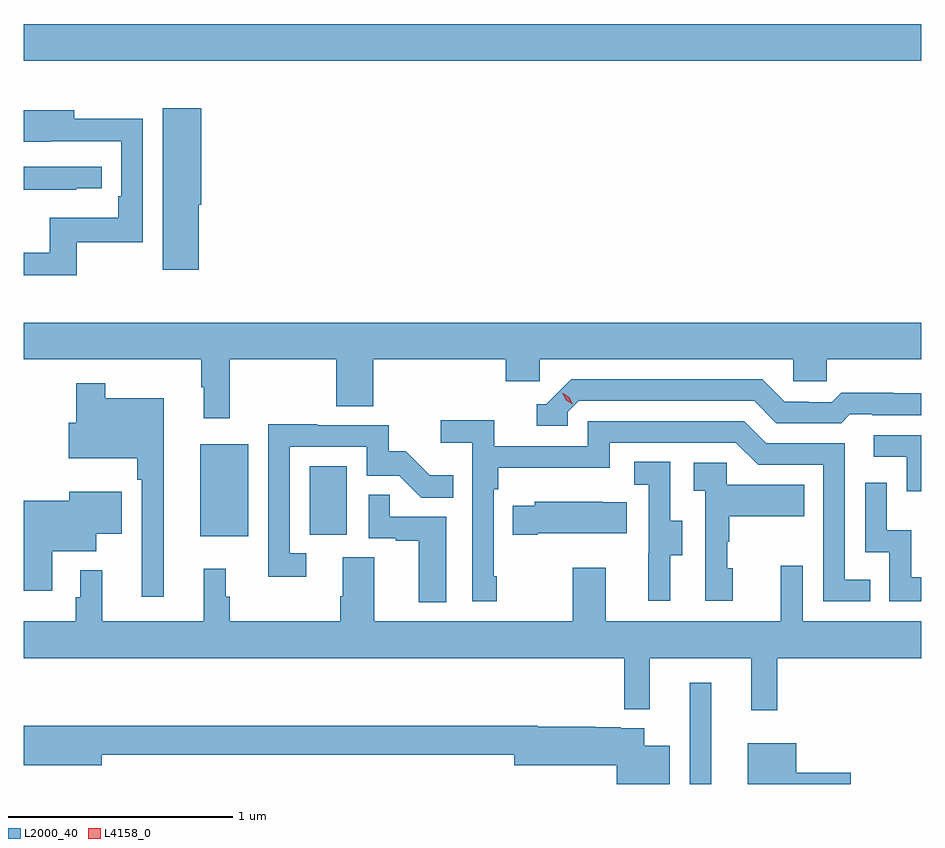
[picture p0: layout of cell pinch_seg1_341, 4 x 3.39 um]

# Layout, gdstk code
import gdstk
lib = gdstk.Library(unit=1e-6, precision=1e-09)
def R(c, l, rs):  # rectangles x0, y0, x1, y1
    for r in rs: c.add(gdstk.rectangle(r[:2], r[2:], *l))
def P(c, l, *ps):  # polygons
    for p in ps: c.add(gdstk.Polygon(p, *l))
L2000_40 = (2000, 40)
L4158_0 = (4158, 0)

pinch_seg1_341 = lib.new_cell('pinch_seg1_341')
R(pinch_seg1_341, L2000_40, [(951.339,552.503,951.436,552.955), (949.157,553.607,949.372,554.017), (949.646,553.614,949.81,553.921), (948.371,555.728,952.371,555.892)])
P(pinch_seg1_341, L2000_40, [(949.15,555.087),(949.162,555.087),(949.162,555.517),(948.989,555.517),(948.989,554.796),(949.15,554.796)],
  [(948.607,554.919),(948.9,554.919),(948.9,555.47),(948.595,555.47),(948.595,555.508),(948.371,555.508),(948.371,555.368),(948.491,555.368),(948.491,555.369),(948.804,555.369),(948.804,555.124),(948.791,555.124),(948.791,555.028),(948.486,555.028),(948.486,554.873),(948.371,554.873),(948.371,554.772),(948.607,554.772)],
  [(948.605,555.159),(948.718,555.159),(948.718,555.255),(948.371,555.255),(948.371,555.154),(948.605,555.154)],
  [(949.289,554.396),(949.763,554.396),(949.763,554.188),(949.928,554.188),(949.928,554.396),(950.519,554.396),(950.519,554.298),(950.67,554.298),(950.67,554.396),(951.801,554.396),(951.801,554.298),(951.951,554.298),(951.951,554.396),(952.371,554.396),(952.371,554.56),(948.371,554.56),(948.371,554.396),(949.161,554.396),(949.161,554.273),(949.172,554.273),(949.172,554.133),(949.289,554.133)],
  [(950.796,554.163),(950.844,554.211),(951.627,554.211),(951.726,554.112),(952.015,554.112),(952.054,554.151),(952.153,554.151),(952.153,554.148),(952.371,554.148),(952.371,554.245),(952.248,554.245),(952.248,554.248),(952.015,554.248),(951.973,554.205),(951.87,554.205),(951.87,554.208),(951.763,554.208),(951.664,554.307),(950.811,554.307),(950.7,554.196),(950.657,554.196),(950.657,554.1),(950.796,554.1)],
  [(948.994,554.224),(948.733,554.224),(948.733,554.29),(948.604,554.29),(948.604,554.113),(948.57,554.113),(948.57,553.955),(948.877,553.955),(948.877,553.859),(948.897,553.859),(948.897,553.338),(948.994,553.338)],
  [(950.479,553.429),(950.466,553.429),(950.466,553.817),(950.486,553.817),(950.486,553.913),(950.982,553.913),(950.982,554.025),(951.546,554.025),(951.645,553.926),(951.936,553.926),(951.936,553.317),(952.145,553.317),(952.145,553.413),(952.032,553.413),(952.032,554.022),(951.682,554.022),(951.583,554.121),(950.886,554.121),(950.886,554.01),(950.468,554.01),(950.468,554.126),(950.229,554.126),(950.229,554.024),(950.37,554.024),(950.37,553.317),(950.479,553.317)],
  [(949.63,553.533),(949.557,553.533),(949.557,554.007),(949.899,554.007),(949.899,553.878),(950.044,553.878),(950.142,553.78),(950.285,553.78),(950.285,553.879),(950.181,553.879),(950.074,553.986),(949.998,553.986),(949.998,554.103),(949.679,554.103),(949.679,554.108),(949.461,554.108),(949.461,553.428),(949.63,553.428)],
  [(952.371,554.058),(952.161,554.058),(952.161,553.962),(952.308,553.962),(952.308,553.809),(952.371,553.809)],
  [(951.253,553.522),(951.307,553.522),(951.307,553.677),(951.252,553.677),(951.252,553.94),(951.093,553.94),(951.093,553.837),(951.156,553.837),(951.156,553.533),(951.155,553.533),(951.155,553.32),(951.253,553.32)],
  [(951.532,553.464),(951.507,553.464),(951.507,553.583),(951.517,553.583),(951.517,553.697),(951.851,553.697),(951.851,553.837),(951.504,553.837),(951.504,553.935),(951.357,553.935),(951.357,553.811),(951.408,553.811),(951.408,553.32),(951.532,553.32)],
  [(952.371,553.426),(952.328,553.426),(952.328,553.634),(952.218,553.634),(952.218,553.846),(952.122,553.846),(952.122,553.536),(952.23,553.536),(952.23,553.317),(952.371,553.317)],
  [(948.496,553.541),(948.694,553.541),(948.694,553.619),(948.808,553.619),(948.808,553.807),(948.572,553.807),(948.572,553.766),(948.371,553.766),(948.371,553.365),(948.496,553.365)],
  [(950.254,553.695),(950.003,553.695),(950.003,553.793),(949.908,553.793),(949.908,553.599),(950.029,553.599),(950.029,553.587),(950.132,553.587),(950.132,553.313),(950.254,553.313)],
  [(950.662,553.622),(951.059,553.622),(951.059,553.759),(950.951,553.759),(950.951,553.762),(950.649,553.762),(950.649,553.744),(950.551,553.744),(950.551,553.615),(950.662,553.615)],
  [(950.965,553.468),(950.818,553.468),(950.818,553.228),(949.933,553.228),(949.933,553.514),(949.793,553.514),(949.793,553.34),(949.781,553.34),(949.781,553.228),(949.289,553.228),(949.289,553.337),(949.271,553.337),(949.271,553.462),(949.172,553.462),(949.172,553.228),(948.719,553.228),(948.719,553.456),(948.621,553.456),(948.621,553.335),(948.601,553.335),(948.601,553.228),(948.371,553.228),(948.371,553.064),(951.047,553.064),(951.047,552.836),(951.161,552.836),(951.161,553.064),(951.614,553.064),(951.614,552.831),(951.731,552.831),(951.731,553.064),(952.371,553.064),(952.371,553.228),(951.843,553.228),(951.843,553.477),(951.746,553.477),(951.746,553.228),(950.965,553.228)],
  [(951.25,552.673),(951.136,552.673),(951.136,552.751),(951.032,552.751),(951.032,552.756),(950.918,552.756),(950.918,552.759),(950.662,552.759),(950.662,552.763),(948.371,552.763),(948.371,552.587),(948.718,552.587),(948.718,552.634),(950.558,552.634),(950.558,552.587),(951.014,552.587),(951.014,552.503),(951.25,552.503)],
  [(952.057,552.554),(951.814,552.554),(951.814,552.685),(951.599,552.685),(951.599,552.503),(952.057,552.503)])
P(pinch_seg1_341, L4158_0, [(950.819,554.196),(950.788,554.215),(950.771,554.247),(950.771,554.248),(950.771,554.248),(950.802,554.228),(950.819,554.196),(950.819,554.196)])

lib.write_gds('pinch_seg1_341.gds')
